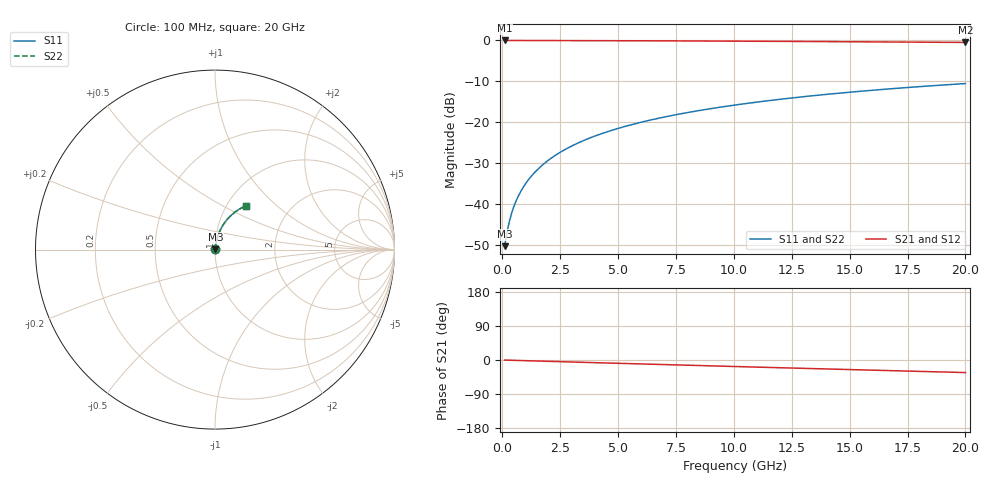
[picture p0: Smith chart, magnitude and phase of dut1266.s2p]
! Touchstone file exported from HFSS 2026.1.0
!  File:  C:/ffzhzh/LocalFiles/Ansys_Project_Files/temp_train_BSMRDL_1266_1783177585_22436.aedt
!  Generated:  11:07:38 PM Jul  4, 2026
!  Design:  BSMRDL
!  Project:  temp_train_BSMRDL_1266_1783177585_22436
! Variables:
!  h_bsmrdl = 4.7um
!  h_ox = 20um
!  h_rdl = 5um
!  h_sub = 80um
!  h_tmrdl = 5um
!  h_tsv = 80um
!  h_via = 3um
!  l_bsmrdl = 492.7um
!  l_sub = 892.7um
!  l_tmrdl = 200um
!  m_sub = 200um
!  pitch = 36.19um
!  r_tsv = 6um
!  s_tmrdl = 10um
!  w_bsmrdl = 15.87um
!  w_sub = 500um
!  w_tmrdl = 12um
!  x_tsv_center1 = 206um
!  x_tsv_center2 = 714.57um
!  x_tsv_center3 = 926.57um
!  x_tsv_center4 = 1435.14um
!  x_tsv_center5 = 1647.14um
!  x_tsv_center6 = 2155.71um
# GHz S MA R 50.000000
! Terminal data exported
! Port[1] = BSM_RDL1_1_T1
! Port[2] = BSM_RDL1_1_T2
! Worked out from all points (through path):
!   200 points, 100 MHz to 20 GHz, reference 50 ohm
!   highest |S21| = -0.02 dB at 100 MHz (marker M1); lowest = -0.5 dB at 20 GHz (marker M2)
!   group delay of S21, straight-line fit = 4.6 ps
!   lowest |S11| = -50.2 dB at 100 MHz (marker M3), VSWR 1.01, Z = 50.2 + j0.188 ohm
!   |S11| at or under -10 dB: start of sweep to end of sweep
!   |S22| runs from -50.2 to -10.5 dB; largest |S21 - S12| = 4.2e-15
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0.1  0.003099 37.2  0.9975 -0.2  0.9975 -0.2  0.003099 37.2
! Gamma 0 0 0 0
! Port Impedance 50 0 50 0
0.2  0.004515 55.2  0.9974 -0.4  0.9974 -0.4  0.004515 55.2
0.3  0.006121 63.7  0.9973 -0.5  0.9973 -0.5  0.006121 63.7
0.4  0.007769 68.4  0.9972 -0.7  0.9972 -0.7  0.007768 68.4
0.5  0.009427 71.5  0.9971 -0.9  0.9971 -0.9  0.009426 71.5
0.6  0.01109 73.6  0.9971 -1.1  0.9971 -1.1  0.01109 73.6
0.8  0.01444 76.4  0.9969 -1.4  0.9969 -1.4  0.01443 76.4
1.1  0.01949 78.7  0.9967 -2.0  0.9967 -2.0  0.01949 78.7
1.3  0.02287 79.5  0.9966 -2.3  0.9966 -2.3  0.02287 79.5
1.6  0.02796 80.2  0.9963 -2.8  0.9963 -2.8  0.02796 80.2
2.1  0.03644 80.6  0.9958 -3.7  0.9958 -3.7  0.03644 80.6
2.7  0.04656 80.4  0.995 -4.8  0.995 -4.8  0.04656 80.4
3.5  0.05992 79.6  0.9938 -6.2  0.9938 -6.2  0.05992 79.6
4.2  0.07147 78.7  0.9926 -7.4  0.9926 -7.4  0.07147 78.7
5  0.0845 77.6  0.991 -8.7  0.991 -8.7  0.0845 77.6
5.9  0.09895 76.3  0.9891 -10.3  0.9891 -10.3  0.09895 76.3
6.8  0.1132 74.9  0.9871 -11.8  0.9871 -11.8  0.1132 74.9
8.3  0.1364 72.6  0.9833 -14.3  0.9833 -14.3  0.1364 72.6
10.1  0.1636 69.8  0.9784 -17.3  0.9784 -17.3  0.1636 69.8
13.4  0.2113 64.8  0.9681 -22.7  0.9681 -22.7  0.2113 64.8
16.7  0.256 59.7  0.9565 -28.0  0.9565 -28.0  0.256 59.7
20  0.2974 54.8  0.9439 -33.1  0.9439 -33.1  0.2974 54.8
